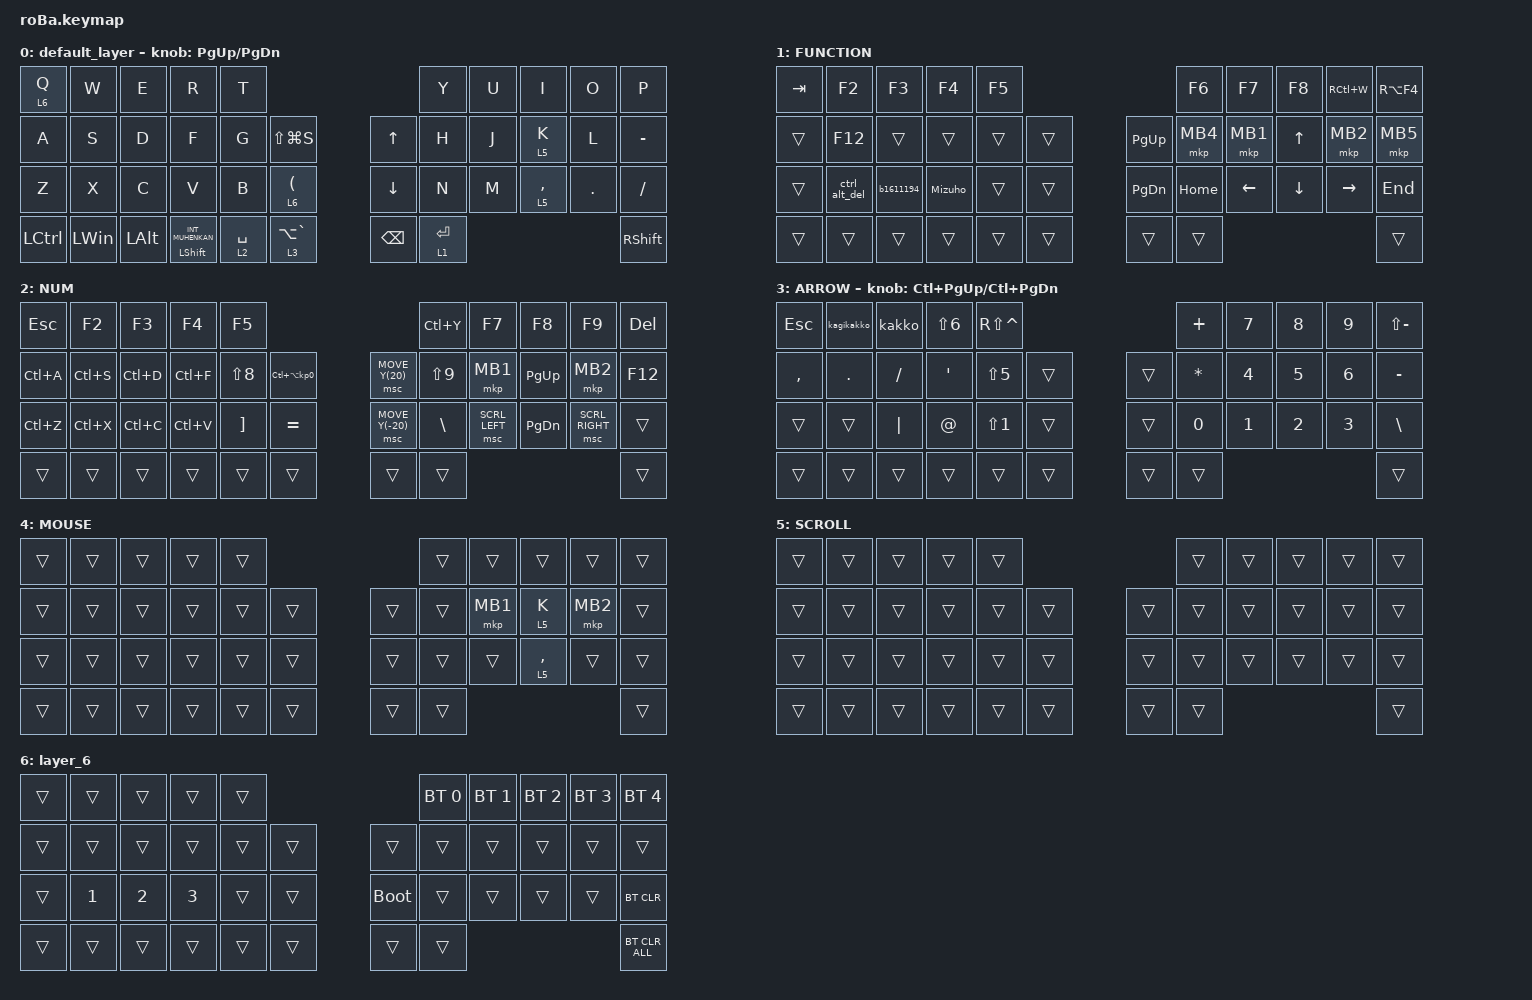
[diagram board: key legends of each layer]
#include <behaviors.dtsi>
#include <dt-bindings/zmk/bt.h>
#include <dt-bindings/zmk/keys.h>
#include <dt-bindings/zmk/pointing.h>

#define MOUSE 4
#define SCROLL 5
#define NUM 6

&mt {
    flavor = "balanced";
    quick-tap-ms = <0>;
};

/ {
    combos {
        compatible = "zmk,combos";

        tab {
            bindings = <&kp TAB>;
            key-positions = <11 12>;
        };

        shift_tab {
            bindings = <&kp LS(TAB)>;
            key-positions = <12 13>;
        };

        muhennkann {
            bindings = <&to_layer_0 INT_MUHENKAN>;
            key-positions = <11 10>;
        };

        double_quotation {
            bindings = <&kp DOUBLE_QUOTES>;
            key-positions = <20 21>;
        };

        eq {
            bindings = <&kp EQUAL>;
            key-positions = <24 25>;
        };
    };

    macros {
        to_layer_0: to_layer_0 {
            compatible = "zmk,behavior-macro-one-param";
            #binding-cells = <1>;
            bindings = <&to 0 &macro_param_1to1 &kp MACRO_PLACEHOLDER>;
            label = "TO_LAYER_0";
        };

        ctrl_alt_del: ctrl_alt_del {
            compatible = "zmk,behavior-macro";
            #binding-cells = <0>;
            bindings = <&kp LC(LA(DEL))>;
            label = "CTRL_ALT_DEL";
        };

        b1611194: b1611194 {
            compatible = "zmk,behavior-macro";
            #binding-cells = <0>;
            bindings = <&kp B &kp N1 &kp N6 &kp N1 &kp N1 &kp N1 &kp N9 &kp N4>;
            label = "B1611194";
        };

        Mizuho: Mizuho {
            compatible = "zmk,behavior-macro";
            #binding-cells = <0>;
            bindings = <&kp LS(M) &kp I &kp Z &kp U &kp H &kp O>;
            label = "MIZUHO";
        };

        kakko: kakko {
            compatible = "zmk,behavior-macro";
            #binding-cells = <0>;
            bindings = <&kp LS(N8) &kp LS(N9) &kp ENTER &kp LEFT_ARROW>;
            label = "KAKKO";
        };

        kagikakko: kagikakko {
            compatible = "zmk,behavior-macro";
            #binding-cells = <0>;
            bindings = <&kp RIGHT_BRACKET &kp BACKSLASH &kp ENTER &kp LEFT_ARROW>;
            label = "KAGIKAKKO";
        };
    };

    behaviors {
        lt_to_layer_0: lt_to_layer_0 {
            compatible = "zmk,behavior-hold-tap";
            label = "LAYER_TAP_TO_0";
            bindings = <&mo>, <&to_layer_0>;

            #binding-cells = <2>;
            tapping-term-ms = <200>;
        };
    };

    keymap {
        compatible = "zmk,keymap";

        default_layer {
            bindings = <
&lt 6 Q    &kp W         &kp E         &kp R                        &kp T                                                        &kp Y        &kp U  &kp I        &kp O    &kp P
&kp A      &kp S         &kp D         &kp F                        &kp G        &kp LS(LG(S))                   &kp UP_ARROW    &kp H        &kp J  &lt 5 K      &kp L    &kp MINUS
&kp Z      &kp X         &kp C         &kp V                        &kp B        &lt 6 LEFT_PARENTHESIS          &kp DOWN_ARROW  &kp N        &kp M  &lt 5 COMMA  &kp DOT  &kp SLASH
&kp LCTRL  &kp LEFT_WIN  &kp LEFT_ALT  &mt LEFT_SHIFT INT_MUHENKAN  &lt 2 SPACE  &lt_to_layer_0 3 LA(GRAVE)      &kp BACKSPACE   &lt 1 ENTER                               &kp RIGHT_SHIFT
            >;

            sensor-bindings = <&inc_dec_kp PG_UP PAGE_DOWN>;
        };

        FUNCTION {
            bindings = <
&kp TAB  &kp F2         &kp F3     &kp F4   &kp F5                             &kp F6    &kp F7          &kp F8          &kp RC(W)        &kp RA(F4)
&trans   &kp F12        &trans     &trans   &trans  &trans      &kp PAGE_UP    &mkp MB4  &mkp MB1        &kp UP_ARROW    &mkp MB2         &mkp MB5
&trans   &ctrl_alt_del  &b1611194  &Mizuho  &trans  &trans      &kp PAGE_DOWN  &kp HOME  &kp LEFT_ARROW  &kp DOWN_ARROW  &kp RIGHT_ARROW  &kp END
&trans   &trans         &trans     &trans   &trans  &trans      &trans         &trans                                                     &trans
            >;
        };

        NUM {
            bindings = <
&kp ESCAPE  &kp F2     &kp F3     &kp F4     &kp F5                                                            &kp LC(Y)      &kp F7          &kp F8         &kp F9           &kp DELETE
&kp LC(A)   &kp LC(S)  &kp LC(D)  &kp LC(F)  &kp LS(N8)         &kp LC(LA(KP_NUMBER_0))      &msc MOVE_Y(20)   &kp LS(N9)     &mkp MB1        &kp PAGE_UP    &mkp MB2         &kp F12
&kp LC(Z)   &kp LC(X)  &kp LC(C)  &kp LC(V)  &kp RIGHT_BRACKET  &kp EQUAL                    &msc MOVE_Y(-20)  &kp BACKSLASH  &msc SCRL_LEFT  &kp PAGE_DOWN  &msc SCRL_RIGHT  &trans
&trans      &trans     &trans     &trans     &trans             &trans                       &trans            &trans                                                         &trans
            >;
        };

        ARROW {
            bindings = <
&kp ESCAPE  &kagikakko  &kakko     &kp LS(NUMBER_6)  &kp RS(CARET)                         &kp PLUS      &kp NUMBER_7  &kp NUMBER_8  &kp NUMBER_9  &kp LS(MINUS)
&kp COMMA   &kp PERIOD  &kp SLASH  &kp SQT           &kp LS(N5)        &trans      &trans  &kp ASTERISK  &kp NUMBER_4  &kp NUMBER_5  &kp NUMBER_6  &kp MINUS
&trans      &trans      &kp PIPE   &kp AT_SIGN       &kp LS(NUMBER_1)  &trans      &trans  &kp NUMBER_0  &kp NUMBER_1  &kp NUMBER_2  &kp NUMBER_3  &kp BACKSLASH
&trans      &trans      &trans     &trans            &trans            &trans      &trans  &trans                                                  &trans
            >;

            sensor-bindings = <&inc_dec_kp LC(PAGE_UP) LC(PAGE_DOWN)>;
        };

        MOUSE {
            bindings = <
&trans  &trans  &trans  &trans  &trans                      &trans  &trans    &trans       &trans    &trans
&trans  &trans  &trans  &trans  &trans  &trans      &trans  &trans  &mkp MB1  &lt 5 K      &mkp MB2  &trans
&trans  &trans  &trans  &trans  &trans  &trans      &trans  &trans  &trans    &lt 5 COMMA  &trans    &trans
&trans  &trans  &trans  &trans  &trans  &trans      &trans  &trans                                   &trans
            >;
        };

        SCROLL {
            bindings = <
&trans  &trans  &trans  &trans  &trans                      &trans  &trans  &trans  &trans  &trans
&trans  &trans  &trans  &trans  &trans  &trans      &trans  &trans  &trans  &trans  &trans  &trans
&trans  &trans  &trans  &trans  &trans  &trans      &trans  &trans  &trans  &trans  &trans  &trans
&trans  &trans  &trans  &trans  &trans  &trans      &trans  &trans                          &trans
            >;
        };

        layer_6 {
            bindings = <
&trans  &trans        &trans        &trans        &trans                           &bt BT_SEL 0  &bt BT_SEL 1  &bt BT_SEL 2  &bt BT_SEL 3  &bt BT_SEL 4
&trans  &trans        &trans        &trans        &trans  &trans      &trans       &trans        &trans        &trans        &trans        &trans
&trans  &kp NUMBER_1  &kp NUMBER_2  &kp NUMBER_3  &trans  &trans      &bootloader  &trans        &trans        &trans        &trans        &bt BT_CLR
&trans  &trans        &trans        &trans        &trans  &trans      &trans       &trans                                                  &bt BT_CLR_ALL
            >;
        };
    };
};
